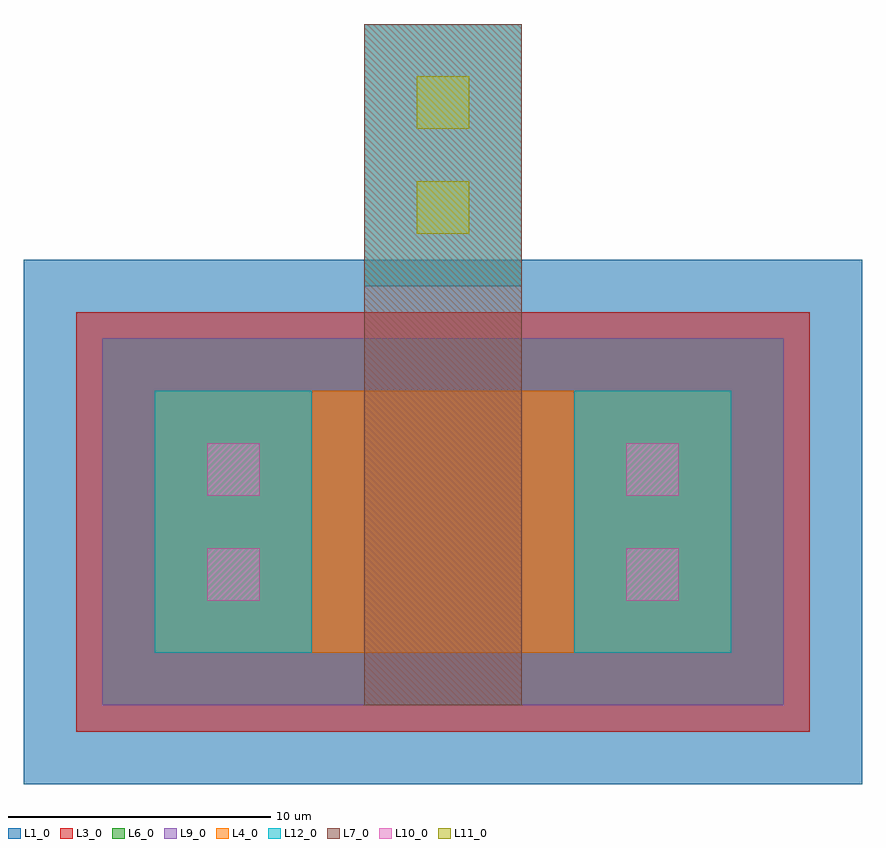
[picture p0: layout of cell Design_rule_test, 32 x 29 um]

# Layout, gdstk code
import gdstk
lib = gdstk.Library(unit=1e-6, precision=1e-09)
def R(c, l, rs):  # rectangles x0, y0, x1, y1
    for r in rs: c.add(gdstk.rectangle(r[:2], r[2:], *l))
L1_0 = (1, 0)
L3_0 = (3, 0)
L4_0 = (4, 0)
L6_0 = (6, 0)
L7_0 = (7, 0)
L9_0 = (9, 0)
L10_0 = (10, 0)
L11_0 = (11, 0)
L12_0 = (12, 0)

design_rule_test = lib.new_cell('Design_rule_test')
R(design_rule_test, L1_0, [(-27,3,5,23)])
R(design_rule_test, L3_0, [(-25,5,3,21)])
R(design_rule_test, L4_0, [(-22,8,0,18)])
R(design_rule_test, L6_0, [(-24,6,2,20)])
R(design_rule_test, L7_0, [(-14,6,-8,32)])
R(design_rule_test, L9_0, [(-24,6,2,20)])
R(design_rule_test, L10_0, [(-20,10,-18,12), (-4,10,-2,12), (-20,14,-18,16), (-4,14,-2,16)])
R(design_rule_test, L11_0, [(-12,24,-10,26), (-12,28,-10,30)])
R(design_rule_test, L12_0, [(-22,8,-16,18), (-6,8,0,18), (-14,22,-8,32)])

lib.write_gds('Design_rule_test.gds')
